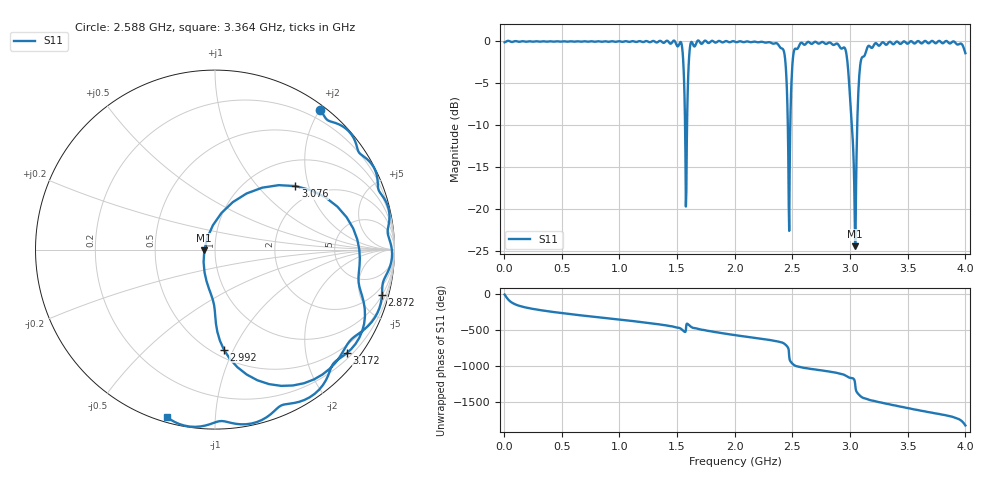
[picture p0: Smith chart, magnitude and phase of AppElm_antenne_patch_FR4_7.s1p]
! TOUCHSTONE file generated by CST MICROWAVE STUDIO
! Date and time: Tue Jun 14 13:15:15 2022
! Project name: AppElm_antenne_patch_FR4.cst
! Parameters = {L=45; W=58.5; e=0.035; h=1.6; lambda=0.190476; ls=120; w0=2.54; w1=0.847; ws=120; y0=18.9; y1=23.8}
! Header version: 2018
! Port assignment regex: !\s*Touchstone port\s*([0-9]+)\s*=\s*(CST MWS port|CST DS port)\s*([0-9]+|Zmin|Zmax)\s*\(\"(.*)\"\)(\s*mode\s*([0-9]+))?.*
! Touchstone port assignment:
! Touchstone port 1 = CST MWS port 1 ("")
# GHz S MA R 50
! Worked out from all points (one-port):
!   1000 points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, 4 MHz to 4 GHz, reference 50 ohm
!   lowest |S11| = -24.5 dB at 3.044 GHz (marker M1), VSWR 1.13, Z = 44.4 - j0.44 ohm
!   |S11| at or under -10 dB: 1.569 GHz to 1.586 GHz (17.55 MHz wide, 1.11 % of centre); 2.46 GHz to 2.482 GHz (21.53 MHz wide, 0.872 % of centre); 3.015 GHz to 3.062 GHz (46.63 MHz wide, 1.53 % of centre)
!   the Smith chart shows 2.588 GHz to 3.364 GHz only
!   S11 on the Smith chart (normalised r, x): 2.588 GHz: 0.06, +2.00; 2.872 GHz: 1.04, -7.37; 2.992 GHz: 0.57, -0.92; 3.076 GHz: 1.57, +1.65; 3.172 GHz: 0.32, -2.86; 3.364 GHz: 0.02, -0.75
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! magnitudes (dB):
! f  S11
! 4 MHz  -0.1
! 504 MHz  0.0
! 1.004 GHz  0.0
! 1.504 GHz  -0.6
! 1.54 GHz  -0.4
! 1.576 GHz  -19.7
! 1.628 GHz  -0.1
! 2.004 GHz  0.0
! 2.412 GHz  -0.9
! 2.436 GHz  -2.0
! 2.456 GHz  -7.5
! 2.472 GHz  -22.6
! 2.484 GHz  -8.3
! 2.504 GHz  -2.0
! 2.588 GHz  -0.2
! 2.872 GHz  -0.3
! 2.956 GHz  -0.8
! 2.992 GHz  -5.0
! 3.004 GHz  -7.7
! 3.028 GHz  -13.2
! 3.044 GHz  -24.5
! 3.06 GHz  -11.0
! 3.076 GHz  -4.9
! 3.1 GHz  -2.0
! 3.172 GHz  -0.6
! 3.364 GHz  -0.2
! 3.504 GHz  -0.2
! 4 GHz  -1.4
